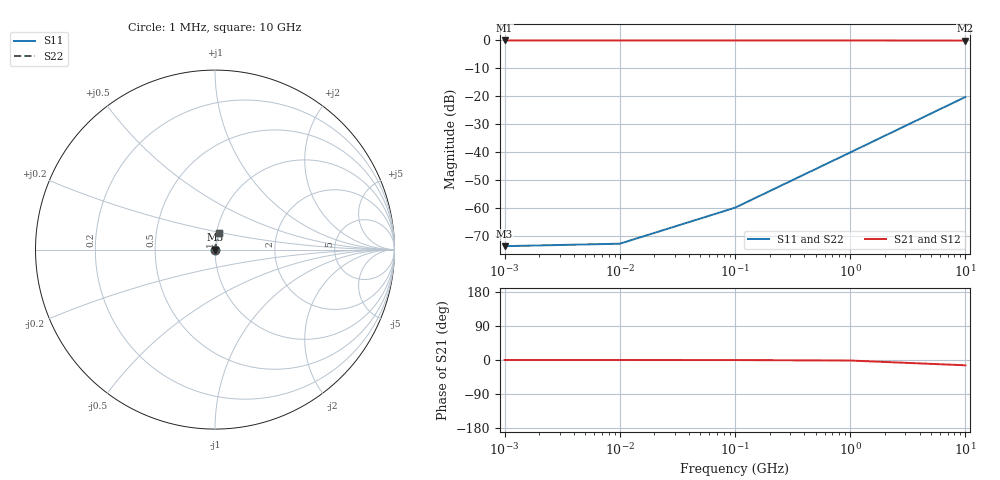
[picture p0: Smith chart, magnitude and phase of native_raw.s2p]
! Sonnet Data File
! From: em Version : 18.53-Lite
! From Project: project
! Data is NOT De-embedded
! Data File Written: 10/12/2026 22:04:12
!< HDATE 10/12/2026 22:04:12
!< MDATE 10/12/2026 22:04:12
# GHZ S RI R 50.00000
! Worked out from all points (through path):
!   5 points, 1 MHz to 10 GHz, reference 50 ohm
!   highest |S21| = 0.00 dB at 1 MHz (marker M1); lowest = 0.0 dB at 10 GHz (marker M2)
!   lowest |S11| = -73.5 dB at 1 MHz (marker M3), VSWR 1.00, Z = 50 + j0.00101 ohm
!   |S11| at or under -10 dB: start of sweep to end of sweep
!   |S22| runs from -73.5 to -20.2 dB; largest |S21 - S12| = 1.4e-12
0.001  0.00021 1.01e-05  0.9998 -2.46e-05  0.9998 -2.46e-05  0.00021 1.01e-05
0.01  0.00021 0.0001  0.9998 -0.000245  0.9998 -0.000245  0.00021 0.0001
0.1  0.000214 0.001  0.9998 -0.00245  0.9998 -0.00245  0.000214 0.001
1  0.000493 0.00994  0.9994 -0.0245  0.9994 -0.0245  0.000493 0.00994
10  0.024 0.0947  0.9654 -0.2398  0.9654 -0.2398  0.024 0.0947
